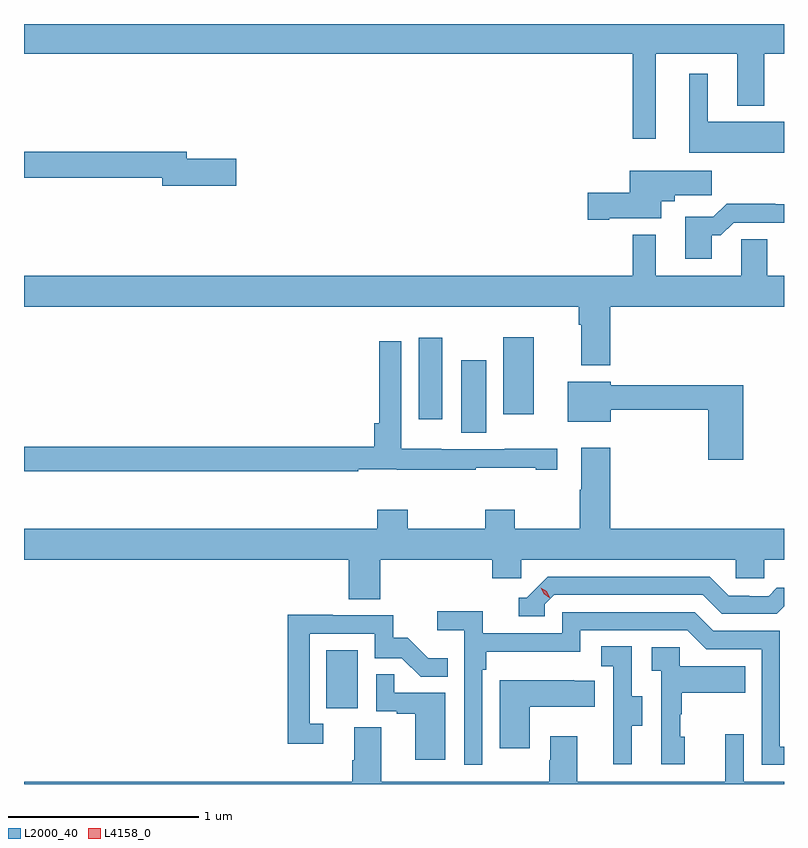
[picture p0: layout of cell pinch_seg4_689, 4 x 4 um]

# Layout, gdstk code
import gdstk
lib = gdstk.Library(unit=1e-6, precision=1e-09)
def R(c, l, rs):  # rectangles x0, y0, x1, y1
    for r in rs: c.add(gdstk.rectangle(r[:2], r[2:], *l))
def P(c, l, *ps):  # polygons
    for p in ps: c.add(gdstk.Polygon(p, *l))
L2000_40 = (2000, 40)
L4158_0 = (4158, 0)

pinch_seg4_689 = lib.new_cell('pinch_seg4_689')
R(pinch_seg4_689, L2000_40, [(1082.18,750.75,1082.344,751.057), (1082.888,752.2,1083.022,752.581), (1082.666,752.271,1082.788,752.701), (1083.11,752.298,1083.271,752.704)])
P(pinch_seg4_689, L2000_40, [(1083.913,754.196),(1084.343,754.196),(1084.343,753.923),(1084.483,753.923),(1084.483,754.196),(1084.588,754.196),(1084.588,754.352),(1080.588,754.352),(1080.588,754.196),(1083.792,754.196),(1083.792,753.747),(1083.913,753.747)],
  [(1084.588,753.838),(1084.186,753.838),(1084.186,754.09),(1084.088,754.09),(1084.088,753.674),(1084.588,753.674)],
  [(1081.705,753.644),(1081.444,753.644),(1081.444,753.68),(1080.588,753.68),(1080.588,753.544),(1081.316,753.544),(1081.316,753.502),(1081.705,753.502)],
  [(1083.667,753.329),(1083.943,753.329),(1083.943,753.419),(1084.012,753.419),(1084.012,753.451),(1084.207,753.451),(1084.207,753.58),(1083.776,753.58),(1083.776,753.464),(1083.555,753.464),(1083.555,753.322),(1083.667,753.322)],
  [(1084.207,753.239),(1084.256,753.239),(1084.323,753.306),(1084.588,753.306),(1084.588,753.404),(1084.541,753.404),(1084.541,753.407),(1084.286,753.407),(1084.216,753.337),(1084.067,753.337),(1084.067,753.117),(1084.207,753.117)],
  [(1083.674,752.864),(1084.588,752.864),(1084.588,753.028),(1084.501,753.028),(1084.501,753.218),(1084.362,753.218),(1084.362,753.028),(1083.913,753.028),(1083.913,753.244),(1083.792,753.244),(1083.792,753.028),(1080.588,753.028),(1080.588,752.864),(1083.509,752.864),(1083.509,752.768),(1083.521,752.768),(1083.521,752.555),(1083.674,752.555)],
  [(1082.348,752.009),(1082.55,752.009),(1082.55,752.007),(1082.966,752.007),(1082.966,752.017),(1083.281,752.017),(1083.281,752.007),(1083.394,752.007),(1083.394,752.117),(1083.118,752.117),(1083.118,752.115),(1082.784,752.115),(1082.784,752.116),(1082.574,752.116),(1082.574,752.683),(1082.458,752.683),(1082.458,752.251),(1082.432,752.251),(1082.432,752.126),(1080.588,752.126),(1080.588,751.998),(1082.348,751.998)],
  [(1084.373,752.452),(1083.676,752.452),(1083.676,752.47),(1083.449,752.47),(1083.449,752.258),(1083.676,752.258),(1083.676,752.323),(1084.19,752.323),(1084.19,752.058),(1084.373,752.058)],
  [(1082.462,751.532),(1083.053,751.532),(1083.053,751.434),(1083.204,751.434),(1083.204,751.532),(1084.335,751.532),(1084.335,751.434),(1084.485,751.434),(1084.485,751.532),(1084.588,751.532),(1084.588,751.696),(1083.674,751.696),(1083.674,752.122),(1083.521,752.122),(1083.521,751.901),(1083.514,751.901),(1083.514,751.696),(1083.171,751.696),(1083.171,751.795),(1083.016,751.795),(1083.016,751.696),(1082.607,751.696),(1082.607,751.795),(1082.447,751.795),(1082.447,751.696),(1080.588,751.696),(1080.588,751.532),(1082.297,751.532),(1082.297,751.324),(1082.462,751.324)],
  [(1083.33,751.299),(1083.378,751.347),(1084.161,751.347),(1084.26,751.248),(1084.549,751.248),(1084.588,751.287),(1084.588,751.384),(1084.549,751.384),(1084.507,751.341),(1084.404,751.341),(1084.404,751.344),(1084.297,751.344),(1084.198,751.443),(1083.345,751.443),(1083.234,751.332),(1083.191,751.332),(1083.191,751.236),(1083.33,751.236)],
  [(1083,750.953),(1083.02,750.953),(1083.02,751.049),(1083.516,751.049),(1083.516,751.161),(1084.08,751.161),(1084.179,751.062),(1084.47,751.062),(1084.47,750.453),(1084.588,750.453),(1084.588,750.549),(1084.566,750.549),(1084.566,751.158),(1084.216,751.158),(1084.117,751.257),(1083.42,751.257),(1083.42,751.146),(1083.002,751.146),(1083.002,751.262),(1082.763,751.262),(1082.763,751.16),(1082.904,751.16),(1082.904,750.453),(1083,750.453)],
  [(1082.164,750.669),(1082.091,750.669),(1082.091,751.143),(1082.433,751.143),(1082.433,751.014),(1082.577,751.014),(1082.675,750.916),(1082.819,750.916),(1082.819,751.015),(1082.715,751.015),(1082.608,751.122),(1082.532,751.122),(1082.532,751.239),(1082.213,751.239),(1082.213,751.244),(1081.975,751.244),(1081.975,750.564),(1082.164,750.564)],
  [(1083.787,750.658),(1083.841,750.658),(1083.841,750.813),(1083.786,750.813),(1083.786,751.076),(1083.627,751.076),(1083.627,750.973),(1083.69,750.973),(1083.69,750.669),(1083.689,750.669),(1083.689,750.456),(1083.787,750.456)],
  [(1084.066,750.6),(1084.041,750.6),(1084.041,750.719),(1084.051,750.719),(1084.051,750.833),(1084.385,750.833),(1084.385,750.973),(1084.038,750.973),(1084.038,751.071),(1083.891,751.071),(1083.891,750.947),(1083.942,750.947),(1083.942,750.456),(1084.066,750.456)],
  [(1082.806,750.831),(1082.537,750.831),(1082.537,750.929),(1082.442,750.929),(1082.442,750.735),(1082.549,750.735),(1082.549,750.723),(1082.648,750.723),(1082.648,750.48),(1082.806,750.48)],
  [(1083.25,750.758),(1083.593,750.758),(1083.593,750.895),(1083.485,750.895),(1083.485,750.898),(1083.092,750.898),(1083.092,750.54),(1083.25,750.54)],
  [(1084.588,750.364),(1084.377,750.364),(1084.377,750.613),(1084.28,750.613),(1084.28,750.364),(1083.499,750.364),(1083.499,750.604),(1083.359,750.604),(1083.359,750.476),(1083.352,750.476),(1083.352,750.364),(1082.467,750.364),(1082.467,750.65),(1082.327,750.65),(1082.327,750.476),(1082.315,750.476),(1082.315,750.364),(1080.588,750.364),(1080.588,750.352),(1084.588,750.352)])
P(pinch_seg4_689, L4158_0, [(1083.353,751.332),(1083.323,751.353),(1083.308,751.386),(1083.308,751.386),(1083.308,751.386),(1083.338,751.366),(1083.354,751.333),(1083.354,751.332)])

lib.write_gds('pinch_seg4_689.gds')
